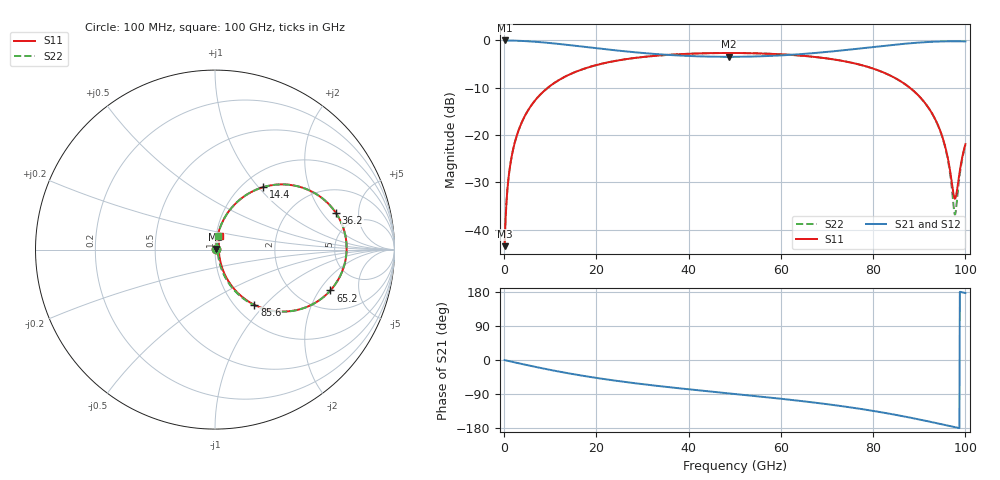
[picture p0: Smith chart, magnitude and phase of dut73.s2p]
! Touchstone file exported from HFSS 2026.1.0
!  File:  C:/ffzhzh/LocalFiles/Ansys_Project_Files/temp_train_RDL_73_1783498661_55944.aedt
!  Generated:  04:18:59 PM Jul  8, 2026
!  Design:  RDL
!  Project:  temp_train_RDL_73_1783498661_55944
! Variables:
!  h_bsmrdl = 2um
!  h_ox = 20um
!  h_rdl = 5um
!  h_sub = 80um
!  h_tmrdl = 3.03um
!  h_tsv = 80um
!  h_via = 3um
!  l_bsmrdl = 300um
!  l_sub = 996.69um
!  l_tmrdl = 596.69um
!  m_sub = 200um
!  pitch = 57.36um
!  r_tsv = 6um
!  s_tmrdl = 10um
!  w_bsmrdl = 18um
!  w_sub = 500um
!  w_tmrdl = 12.59um
!  x_tsv_center1 = 602.985um
!  x_tsv_center2 = 920.985um
!  x_tsv_center3 = 1530.265um
!  x_tsv_center4 = 1848.265um
!  x_tsv_center5 = 2457.545um
!  x_tsv_center6 = 2775.545um
# GHz S MA R 50.000000
! Terminal data exported
! Port[1] = TM_RDL1_1_T1
! Port[2] = TM_RDL1_1_T2
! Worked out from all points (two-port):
!   1000 points, 100 MHz to 100 GHz, reference 50 ohm
!   highest |S21| = -0.05 dB at 100 MHz (marker M1); lowest = -3.5 dB at 48.7 GHz (marker M2)
!   |S21| within 3 dB of the highest: start of sweep to 34.84 GHz; 62.61 GHz to end of sweep
!   lowest |S11| = -43.4 dB at 100 MHz (marker M3), VSWR 1.01, Z = 50.6 + j0.377 ohm
!   |S11| at or under -10 dB: start of sweep to 9.508 GHz; 87.93 GHz to end of sweep
!   |S22| runs from -43.4 to -2.7 dB; largest |S21 - S12| = 1.8e-14
!   S11 on the Smith chart (normalised r, x): 100 MHz: 1.01, +0.01; 14.4 GHz: 1.23, +1.06; 36.2 GHz: 3.43, +2.76; 65.2 GHz: 2.99, -2.54; 85.6 GHz: 1.22, -0.88; 100 GHz: 1.04, +0.16
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0.1  0.006722 33.7  0.9944 -0.3  0.9944 -0.3  0.006722 33.7
! Gamma 0 0 0 0
! Port Impedance 50 0 50 0
0.9  0.03358 76.8  0.9932 -2.5  0.9932 -2.5  0.03358 76.8
1.4  0.05127 78.8  0.9922 -3.9  0.9922 -3.9  0.05127 78.8
3.7  0.132 76.7  0.9838 -10.1  0.9838 -10.1  0.132 76.7
7.9  0.2689 66.9  0.9536 -21.0  0.9536 -21.0  0.2689 66.9
14.4  0.4403 52.3  0.8855 -36.1  0.8855 -36.1  0.4403 52.3
16.8  0.4904 47.4  0.8585 -41.1  0.8585 -41.1  0.4904 47.4
33.4  0.689 20.4  0.7119 -68.6  0.7119 -68.6  0.689 20.5
36.2  0.7044 16.7  0.6972 -72.4  0.6972 -72.4  0.7044 16.8
48.7  0.7335 1.3  0.6681 -88.1  0.6681 -88.1  0.7335 1.4
50.1  0.7333 -0.4  0.6685 -89.8  0.6685 -89.8  0.7332 -0.3
65.2  0.6822 -19.5  0.7188 -109.4  0.7188 -109.4  0.6822 -19.4
66.7  0.6714 -21.6  0.7285 -111.5  0.7285 -111.5  0.6713 -21.5
83.4  0.4314 -50.0  0.8839 -141.4  0.8839 -141.4  0.4312 -50.3
85.6  0.3784 -54.5  0.9063 -146.4  0.9063 -146.4  0.3782 -54.9
90.5  0.2407 -64.3  0.9488 -158.2  0.9488 -158.2  0.2403 -65.3
93.9  0.1323 -68.8  0.9678 -167.0  0.9678 -167.0  0.1314 -71.1
95.9  0.06651 -64.6  0.9736 -172.3  0.9736 -172.3  0.06475 -69.8
97.7  0.02132 -1.5  0.9749 -177.1  0.9749 -177.1  0.01451 -3.0
98.1  0.02464 31.2  0.9747 -178.2  0.9747 -178.2  0.01898 42.0
99.3  0.05758 66.1  0.973 178.6  0.973 178.6  0.05532 73.2
100  0.08018 70.6  0.9712 176.8  0.9712 176.8  0.07855 75.9
